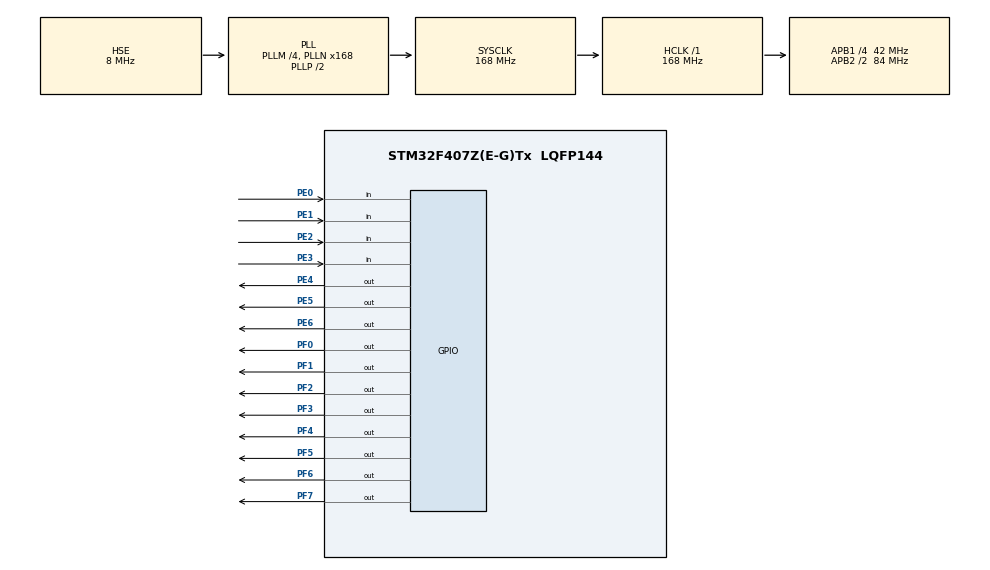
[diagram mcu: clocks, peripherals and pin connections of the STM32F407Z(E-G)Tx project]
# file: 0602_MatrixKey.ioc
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Mcu.Family=STM32F4
Mcu.Name=STM32F407Z(E-G)Tx
Mcu.Package=LQFP144
NVIC.PriorityGroup=NVIC_PRIORITYGROUP_4
PA13.Mode=Serial_Wire
PA13.Signal=SYS_JTMS-SWDIO
PA14.Mode=Serial_Wire
PA14.Signal=SYS_JTCK-SWCLK
PE0.GPIO_Mode=GPIO_MODE_INPUT
PE0.GPIO_PuPd=GPIO_PULLUP
PE0.Signal=GPIO_Input
PE1.GPIO_Mode=GPIO_MODE_INPUT
PE1.GPIO_PuPd=GPIO_PULLUP
PE1.Signal=GPIO_Input
PE2.GPIO_Mode=GPIO_MODE_INPUT
PE2.GPIO_PuPd=GPIO_PULLUP
PE2.Signal=GPIO_Input
PE3.GPIO_Mode=GPIO_MODE_INPUT
PE3.GPIO_PuPd=GPIO_PULLUP
PE3.Signal=GPIO_Input
PE4.GPIO_ModeDefaultOutputPP=GPIO_MODE_OUTPUT_PP
PE4.GPIO_PuPd=GPIO_NOPULL
PE4.GPIO_Speed=GPIO_SPEED_FREQ_LOW
PE4.PinState=GPIO_PIN_SET
PE4.Signal=GPIO_Output
PE5.GPIO_ModeDefaultOutputPP=GPIO_MODE_OUTPUT_PP
PE5.GPIO_PuPd=GPIO_NOPULL
PE5.GPIO_Speed=GPIO_SPEED_FREQ_LOW
PE5.PinState=GPIO_PIN_SET
PE5.Signal=GPIO_Output
PE6.GPIO_ModeDefaultOutputPP=GPIO_MODE_OUTPUT_PP
PE6.GPIO_PuPd=GPIO_NOPULL
PE6.GPIO_Speed=GPIO_SPEED_FREQ_LOW
PE6.PinState=GPIO_PIN_SET
PE6.Signal=GPIO_Output
PF0.GPIO_ModeDefaultOutputPP=GPIO_MODE_OUTPUT_PP
PF0.GPIO_PuPd=GPIO_NOPULL
PF0.GPIO_Speed=GPIO_SPEED_FREQ_LOW
PF0.PinState=GPIO_PIN_SET
PF0.Signal=GPIO_Output
PF1.GPIO_ModeDefaultOutputPP=GPIO_MODE_OUTPUT_PP
PF1.GPIO_PuPd=GPIO_NOPULL
PF1.GPIO_Speed=GPIO_SPEED_FREQ_LOW
PF1.PinState=GPIO_PIN_SET
PF1.Signal=GPIO_Output
PF2.GPIO_ModeDefaultOutputPP=GPIO_MODE_OUTPUT_PP
PF2.GPIO_PuPd=GPIO_NOPULL
PF2.GPIO_Speed=GPIO_SPEED_FREQ_LOW
PF2.PinState=GPIO_PIN_SET
PF2.Signal=GPIO_Output
PF3.GPIO_ModeDefaultOutputPP=GPIO_MODE_OUTPUT_PP
PF3.GPIO_PuPd=GPIO_NOPULL
PF3.GPIO_Speed=GPIO_SPEED_FREQ_LOW
PF3.PinState=GPIO_PIN_SET
PF3.Signal=GPIO_Output
PF4.GPIO_ModeDefaultOutputPP=GPIO_MODE_OUTPUT_PP
PF4.GPIO_PuPd=GPIO_NOPULL
PF4.GPIO_Speed=GPIO_SPEED_FREQ_LOW
PF4.PinState=GPIO_PIN_SET
PF4.Signal=GPIO_Output
PF5.GPIO_ModeDefaultOutputPP=GPIO_MODE_OUTPUT_PP
PF5.GPIO_PuPd=GPIO_NOPULL
PF5.GPIO_Speed=GPIO_SPEED_FREQ_LOW
PF5.PinState=GPIO_PIN_SET
PF5.Signal=GPIO_Output
PF6.GPIO_ModeDefaultOutputPP=GPIO_MODE_OUTPUT_PP
PF6.GPIO_PuPd=GPIO_NOPULL
PF6.GPIO_Speed=GPIO_SPEED_FREQ_LOW
PF6.PinState=GPIO_PIN_SET
PF6.Signal=GPIO_Output
PF7.GPIO_ModeDefaultOutputPP=GPIO_MODE_OUTPUT_PP
PF7.GPIO_PuPd=GPIO_NOPULL
PF7.GPIO_Speed=GPIO_SPEED_FREQ_LOW
PF7.PinState=GPIO_PIN_SET
PF7.Signal=GPIO_Output
PH0-OSC_IN.Mode=HSE-External-Oscillator
PH0-OSC_IN.Signal=RCC_OSC_IN
PH1-OSC_OUT.Mode=HSE-External-Oscillator
PH1-OSC_OUT.Signal=RCC_OSC_OUT
ProjectManager.HeapSize=0x200
ProjectManager.StackSize=0x400
ProjectManager.TargetToolchain=MDK-ARM V5.32
RCC.48MHZClocksFreq_Value=84000000
RCC.AHBFreq_Value=168000000
RCC.APB1CLKDivider=RCC_HCLK_DIV4
RCC.APB1Freq_Value=42000000
RCC.APB1TimFreq_Value=84000000
RCC.APB2CLKDivider=RCC_HCLK_DIV2
RCC.APB2Freq_Value=84000000
RCC.APB2TimFreq_Value=168000000
RCC.CortexFreq_Value=168000000
RCC.HCLKFreq_Value=168000000
RCC.HSE_VALUE=8000000
RCC.HSI_VALUE=16000000
RCC.LSE_VALUE=32768
RCC.PLLM=4
RCC.PLLN=168
RCC.PLLSourceVirtual=RCC_PLLSOURCE_HSE
RCC.SYSCLKFreq_VALUE=168000000
RCC.SYSCLKSource=RCC_SYSCLKSOURCE_PLLCLK
RCC.VCOOutputFreq_Value=336000000
board=custom

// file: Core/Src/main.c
/* USER CODE BEGIN Header */
/**
  ******************************************************************************
  * @file           : main.c
  * @brief          : Main program body
  ******************************************************************************
  * @attention
  *
  * Copyright (c) 2026 STMicroelectronics.
  * All rights reserved.
  *
  * This software is licensed under terms that can be found in the LICENSE file
  * in the root directory of this software component.
  * If no LICENSE file comes with this software, it is provided AS-IS.
  *
  ******************************************************************************
  */
/* USER CODE END Header */
#include "main.h"
#include "gpio.h"

/* USER CODE BEGIN PV */
uint8_t key_val = 0;
/* USER CODE END PV */

void SystemClock_Config(void);

/* USER CODE BEGIN 0 */
uint8_t MatrixKey_Scan(void)
{
	uint8_t row,col;
	uint8_t ret = 0;
	// ==========???0? PE4 ==========
	HAL_GPIO_WritePin(GPIOE, GPIO_PIN_4, GPIO_PIN_RESET); //???
	HAL_GPIO_WritePin(GPIOE, GPIO_PIN_5, GPIO_PIN_SET);
	HAL_GPIO_WritePin(GPIOE, GPIO_PIN_6, GPIO_PIN_SET);
	HAL_Delay(10); //????
	if(HAL_GPIO_ReadPin(GPIOE, GPIO_PIN_0) == GPIO_PIN_RESET) { col=0; ret=1; }
	if(HAL_GPIO_ReadPin(GPIOE, GPIO_PIN_1) == GPIO_PIN_RESET) { col=1; ret=2; }
	if(HAL_GPIO_ReadPin(GPIOE, GPIO_PIN_2) == GPIO_PIN_RESET) { col=2; ret=3; }
	if(HAL_GPIO_ReadPin(GPIOE, GPIO_PIN_3) == GPIO_PIN_RESET) { col=3; ret=4; }
	if(ret != 0)
	{
		while(HAL_GPIO_ReadPin(GPIOE, GPIO_PIN_0)==0||HAL_GPIO_ReadPin(GPIOE, GPIO_PIN_1)==0
			 ||HAL_GPIO_ReadPin(GPIOE, GPIO_PIN_2)==0||HAL_GPIO_ReadPin(GPIOE, GPIO_PIN_3)==0); //????
		HAL_Delay(10);
		return ret;
	}

	// ==========???1? PE5 ==========
	HAL_GPIO_WritePin(GPIOE, GPIO_PIN_4, GPIO_PIN_SET);
	HAL_GPIO_WritePin(GPIOE, GPIO_PIN_5, GPIO_PIN_RESET);
	HAL_GPIO_WritePin(GPIOE, GPIO_PIN_6, GPIO_PIN_SET);
	HAL_Delay(10);
	if(HAL_GPIO_ReadPin(GPIOE, GPIO_PIN_0) == GPIO_PIN_RESET) { col=0; ret=5; }
	if(HAL_GPIO_ReadPin(GPIOE, GPIO_PIN_1) == GPIO_PIN_RESET) { col=1; ret=6; }
	if(HAL_GPIO_ReadPin(GPIOE, GPIO_PIN_2) == GPIO_PIN_RESET) { col=2; ret=7; }
	if(HAL_GPIO_ReadPin(GPIOE, GPIO_PIN_3) == GPIO_PIN_RESET) { col=3; ret=8; }
	if(ret != 0)
	{
		while(HAL_GPIO_ReadPin(GPIOE, GPIO_PIN_0)==0||HAL_GPIO_ReadPin(GPIOE, GPIO_PIN_1)==0
			 ||HAL_GPIO_ReadPin(GPIOE, GPIO_PIN_2)==0||HAL_GPIO_ReadPin(GPIOE, GPIO_PIN_3)==0);
		HAL_Delay(10);
		return ret;
	}

	// ==========???2? PE6 ==========
	HAL_GPIO_WritePin(GPIOE, GPIO_PIN_4, GPIO_PIN_SET);
	HAL_GPIO_WritePin(GPIOE, GPIO_PIN_5, GPIO_PIN_SET);
	HAL_GPIO_WritePin(GPIOE, GPIO_PIN_6, GPIO_PIN_RESET);
	HAL_Delay(10);
	if(HAL_GPIO_ReadPin(GPIOE, GPIO_PIN_0) == GPIO_PIN_RESET) { col=0; ret=9; }
	if(HAL_GPIO_ReadPin(GPIOE, GPIO_PIN_1) == GPIO_PIN_RESET) { col=1; ret=10; }
	if(HAL_GPIO_ReadPin(GPIOE, GPIO_PIN_2) == GPIO_PIN_RESET) { col=2; ret=11; }
	if(HAL_GPIO_ReadPin(GPIOE, GPIO_PIN_3) == GPIO_PIN_RESET) { col=3; ret=12; }
	if(ret != 0)
	{
		while(HAL_GPIO_ReadPin(GPIOE, GPIO_PIN_0)==0||HAL_GPIO_ReadPin(GPIOE, GPIO_PIN_1)==0
			 ||HAL_GPIO_ReadPin(GPIOE, GPIO_PIN_2)==0||HAL_GPIO_ReadPin(GPIOE, GPIO_PIN_3)==0);
		HAL_Delay(10);
		return ret;
	}

	//??????,?????
	HAL_GPIO_WritePin(GPIOE, GPIO_PIN_4, GPIO_PIN_SET);
	HAL_GPIO_WritePin(GPIOE, GPIO_PIN_5, GPIO_PIN_SET);
	HAL_GPIO_WritePin(GPIOE, GPIO_PIN_6, GPIO_PIN_SET);
	return 0; //???
}
/* USER CODE END 0 */

int main(void)
{

  /* MCU Configuration--------------------------------------------------------*/

  /* Reset of all peripherals, Initializes the Flash interface and the Systick. */
  HAL_Init();

  /* Configure the system clock */
  SystemClock_Config();

  /* Initialize all configured peripherals */
  MX_GPIO_Init();
  /* USER CODE BEGIN 2 */
uint16_t i,KeyVal=0;
  uint8_t PreLine[3]={2,0,1};
  /* USER CODE END 2 */

  /* Infinite loop */
  /* USER CODE BEGIN WHILE */
  while (1)
  {
		for(i=0;i<3;i++)
		{
			if((GPIOE->IDR&0x0F)!=0x0F)
			{
				HAL_Delay(16);
				if((GPIOE->IDR&0x0F)!=0x0F)
				{
					switch((GPIOE->IDR&0x0F))
					{
						case 0x0E:KeyVal=4*PreLine[i]+1;break;
						case 0x0D:KeyVal=4*PreLine[i]+2;break;
						case 0x0B:KeyVal=4*PreLine[i]+3;break;
						case 0x07:KeyVal=4*PreLine[i]+4;break;
						default :break;
					}
				}
			}
			GPIOE->ODR=~(1<<(i+4));
		}
		GPIOF->ODR=~((KeyVal/10<<4)+KeyVal%10);
    /* USER CODE END WHILE */

    /* USER CODE BEGIN 3 */
		key_val = MatrixKey_Scan();
		if(key_val != 0)
		{
			// 8421 BCD????PF0~PF3,PF4~PF7???(??)
			// ??:PF?????LED
			GPIOF->ODR = (0xF0) | (~key_val & 0x0F);
		}
		else
		{
			//???,LED????
			GPIOF->ODR = 0xFF;
		}
		HAL_Delay(20);
  }
  /* USER CODE END 3 */
}

void SystemClock_Config(void)
{
  RCC_OscInitTypeDef RCC_OscInitStruct = {0};
  RCC_ClkInitTypeDef RCC_ClkInitStruct = {0};

  /** Configure the main internal regulator output voltage
  */
  __HAL_RCC_PWR_CLK_ENABLE();
  __HAL_PWR_VOLTAGESCALING_CONFIG(PWR_REGULATOR_VOLTAGE_SCALE1);

  /** Initializes the RCC Oscillators according to the specified parameters
  * in the RCC_OscInitTypeDef structure.
  */
  RCC_OscInitStruct.OscillatorType = RCC_OSCILLATORTYPE_HSE;
  RCC_OscInitStruct.HSEState = RCC_HSE_ON;
  RCC_OscInitStruct.PLL.PLLState = RCC_PLL_ON;
  RCC_OscInitStruct.PLL.PLLSource = RCC_PLLSOURCE_HSE;
  RCC_OscInitStruct.PLL.PLLM = 4;
  RCC_OscInitStruct.PLL.PLLN = 168;
  RCC_OscInitStruct.PLL.PLLP = RCC_PLLP_DIV2;
  RCC_OscInitStruct.PLL.PLLQ = 4;
  if (HAL_RCC_OscConfig(&RCC_OscInitStruct) != HAL_OK)
  {
    Error_Handler();
  }

  /** Initializes the CPU, AHB and APB buses clocks
  */
  RCC_ClkInitStruct.ClockType = RCC_CLOCKTYPE_HCLK|RCC_CLOCKTYPE_SYSCLK
                              |RCC_CLOCKTYPE_PCLK1|RCC_CLOCKTYPE_PCLK2;
  RCC_ClkInitStruct.SYSCLKSource = RCC_SYSCLKSOURCE_PLLCLK;
  RCC_ClkInitStruct.AHBCLKDivider = RCC_SYSCLK_DIV1;
  RCC_ClkInitStruct.APB1CLKDivider = RCC_HCLK_DIV4;
  RCC_ClkInitStruct.APB2CLKDivider = RCC_HCLK_DIV2;

  if (HAL_RCC_ClockConfig(&RCC_ClkInitStruct, FLASH_LATENCY_5) != HAL_OK)
  {
    Error_Handler();
  }
}

void Error_Handler(void)
{
  __disable_irq();
  while (1)
  {
  }
}
